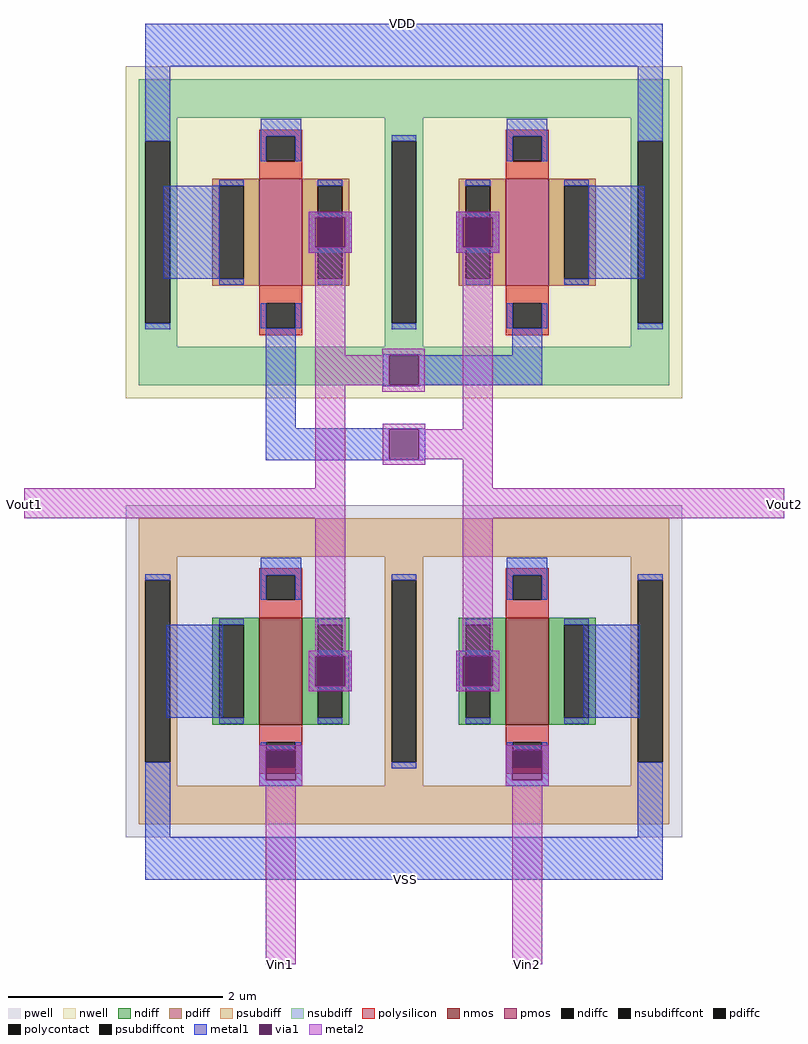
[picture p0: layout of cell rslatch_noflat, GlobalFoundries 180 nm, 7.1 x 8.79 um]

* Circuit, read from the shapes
.subckt rslatch_noflat VDD Vout1 Vout2 Vin1 Vin2 VSS
XM1 Vout1 Vin1 VSS VSS nfet_03v3 w=1u l=0.4u
XM2 VSS Vin2 Vout2 VSS nfet_03v3 w=1u l=0.4u
XM3 Vout1 Vout2 VDD VDD pfet_03v3 w=1u l=0.4u
XM4 VDD Vout1 Vout2 VDD pfet_03v3 w=1u l=0.4u
.ends

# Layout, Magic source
magic
tech gf180mcuD
magscale 1 10
<< metal1 >>
rect 2097 -500 3063 -420
rect 2097 -629 2143 -500
rect 2312 -631 2388 -598
rect 2772 -631 2848 -598
rect 3017 -629 3063 -500
rect 2130 -897 2236 -723
rect 2402 -782 2482 -772
rect 2402 -838 2414 -782
rect 2470 -838 2482 -782
rect 2402 -848 2482 -838
rect 2678 -782 2758 -772
rect 2678 -838 2690 -782
rect 2746 -838 2758 -782
rect 2678 -848 2758 -838
rect 2924 -897 3030 -723
rect 2322 -1176 2378 -989
rect 2540 -1040 2610 -1038
rect 2782 -1040 2838 -989
rect 2540 -1096 2552 -1040
rect 2608 -1096 2838 -1040
rect 2540 -1098 2610 -1096
rect 2322 -1178 2620 -1176
rect 2322 -1234 2552 -1178
rect 2608 -1234 2620 -1178
rect 2322 -1236 2620 -1234
rect 2312 -1451 2388 -1418
rect 2772 -1451 2848 -1418
rect 2136 -1717 2242 -1543
rect 2402 -1602 2482 -1592
rect 2402 -1658 2414 -1602
rect 2470 -1658 2482 -1602
rect 2402 -1668 2482 -1658
rect 2678 -1602 2758 -1592
rect 2678 -1658 2690 -1602
rect 2746 -1658 2758 -1602
rect 2678 -1668 2758 -1658
rect 2915 -1717 3021 -1543
rect 2310 -1778 2390 -1768
rect 2097 -1940 2143 -1800
rect 2310 -1834 2322 -1778
rect 2378 -1834 2390 -1778
rect 2310 -1844 2390 -1834
rect 2770 -1778 2850 -1768
rect 2770 -1834 2782 -1778
rect 2838 -1834 2850 -1778
rect 2770 -1844 2850 -1834
rect 3017 -1940 3063 -1800
rect 2097 -2020 3063 -1940
<< via1 >>
rect 2414 -838 2470 -782
rect 2690 -838 2746 -782
rect 2552 -1096 2608 -1040
rect 2552 -1234 2608 -1178
rect 2414 -1658 2470 -1602
rect 2690 -1658 2746 -1602
rect 2322 -1834 2378 -1778
rect 2782 -1834 2838 -1778
<< metal2 >>
rect 2402 -782 2482 -772
rect 2402 -838 2414 -782
rect 2470 -838 2482 -782
rect 2402 -848 2482 -838
rect 2678 -782 2758 -772
rect 2678 -838 2690 -782
rect 2746 -838 2758 -782
rect 2678 -848 2758 -838
rect 2414 -1040 2470 -848
rect 2539 -1040 2619 -1028
rect 2414 -1096 2552 -1040
rect 2608 -1096 2619 -1040
rect 2414 -1288 2470 -1096
rect 2539 -1108 2619 -1096
rect 2540 -1178 2620 -1168
rect 2690 -1178 2746 -848
rect 2540 -1234 2552 -1178
rect 2608 -1234 2746 -1178
rect 2540 -1244 2620 -1234
rect 1870 -1344 2470 -1288
rect 2414 -1592 2470 -1344
rect 2690 -1288 2746 -1234
rect 2690 -1344 3290 -1288
rect 2690 -1592 2746 -1344
rect 2402 -1602 2482 -1592
rect 2402 -1658 2414 -1602
rect 2470 -1658 2482 -1602
rect 2402 -1668 2482 -1658
rect 2678 -1602 2758 -1592
rect 2678 -1658 2690 -1602
rect 2746 -1658 2758 -1602
rect 2678 -1668 2758 -1658
rect 2310 -1778 2390 -1768
rect 2310 -1834 2322 -1778
rect 2378 -1834 2390 -1778
rect 2310 -1844 2390 -1834
rect 2770 -1778 2850 -1768
rect 2770 -1834 2782 -1778
rect 2838 -1834 2850 -1778
rect 2770 -1844 2850 -1834
rect 2322 -2178 2378 -1844
rect 2782 -2178 2838 -1844
use nfet_03v3_EKTWUP  M2
transform 1 0 2810 0 1 -1630
box -290 -310 290 310
use pfet_03v3_L25D84  M3
transform 1 0 2350 0 1 -810
box -290 -310 290 310
use nfet_03v3_EKTWUP  nfet_03v3_EKTWUP_0
transform 1 0 2350 0 1 -1630
box -290 -310 290 310
use pfet_03v3_L25D84  pfet_03v3_L25D84_0
transform 1 0 2810 0 1 -810
box -290 -310 290 310
<< labels >>
rlabel metal1 2578 -420 2578 -420 1 VDD
port 0 n
rlabel metal2 1870 -1318 1870 -1318 7 Vout1
port 1 w
rlabel metal2 3290 -1318 3290 -1318 3 Vout2
port 2 e
rlabel metal2 2350 -2178 2350 -2178 5 Vin1
port 3 s
rlabel metal2 2811 -2178 2811 -2178 5 Vin2
port 4 s
rlabel metal1 2583 -2020 2583 -2020 5 VSS
port 5 s
<< end >>

# cell nfet_03v3_EKTWUP: kit device nfet_03v3, w 1.0 l 0.4 m 1 nf 1 diffcov 100 polycov 100 guard 1 glc 1 grc 1 gtc 0 gbc 0 tbcov 100 rlcov 100 topc 1 botc 1 poverlap 0 doverlap 1 lmin 0.28 wmin 0.22 class mosfet full_metal 0 compatible {nfet_03v3 nfet_06v0 nfet_06v0_nvt}

# cell pfet_03v3_L25D84: kit device pfet_03v3, w 1.0 l 0.4 m 1 nf 1 diffcov 100 polycov 100 guard 1 glc 1 grc 1 gtc 0 gbc 0 tbcov 100 rlcov 100 topc 1 botc 1 poverlap 0 doverlap 1 lmin 0.28 wmin 0.22 class mosfet full_metal 0 compatible {pfet_03v3 pfet_06v0}
